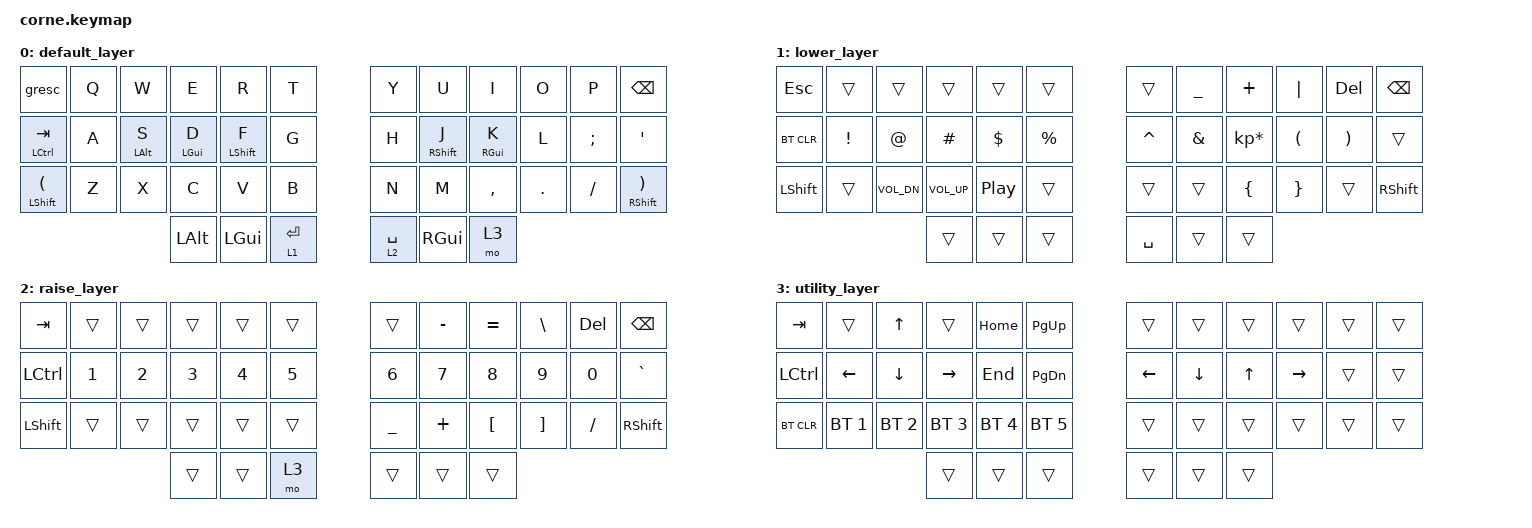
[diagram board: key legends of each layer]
/*
 * Copyright (c) 2020 The ZMK Contributors
 *
 * SPDX-License-Identifier: MIT
 */

#include <behaviors.dtsi>
#include <dt-bindings/zmk/keys.h>
#include <dt-bindings/zmk/bt.h>

/ {
        behaviors {        
                hm: homerow_mods {            
                        compatible = "zmk,behavior-hold-tap";            
                        label = "HOMEROW_MODS";            
                        #binding-cells = <2>;            
                        tapping-term-ms = <150>;            
                        quick_tap_ms = <0>;            
                        flavor = "tap-preferred";            
                        bindings = <&kp>, <&kp>;        
                };    
        };

        keymap {
                compatible = "zmk,keymap";

                default_layer {
// -----------------------------------------------------------------------------------------
// | ESC` |  Q  |  W  |  E  |  R  |  T  |   |  Y  |  U   |  I  |  O  |  P  | BKSP |
// |  TAB |  A  |  S  |  D  |  F  |  G  |   |  H  |  J   |  K  |  L  |  ;  |  '   |
// |   S( |  Z  |  X  |  C  |  V  |  B  |   |  N  |  M   |  ,  |  .  |  /  |  S)  |
//                    | GUI | LWR | ENT |   | SPC | RSE  | ALT |
                        bindings = <
   &gresc          &kp Q &kp W      &kp E      &kp R        &kp T       &kp Y       &kp U        &kp I      &kp O   &kp P    &kp BSPC
   &hm LCTL TAB    &kp A &hm LALT S &hm LGUI D &hm LSHIFT F &kp G       &kp H       &hm RSHIFT J &hm RGUI K &kp L   &kp SEMI &kp SQT
   &mt LSHIFT LPAR &kp Z &kp X      &kp C      &kp V        &kp B       &kp N       &kp M        &kp COMMA  &kp DOT &kp FSLH &mt RSHFT RPAR
                                    &kp LALT   &kp LGUI     &lt 1 ENTER &lt 2 SPACE &kp RGUI     &mo 3
                        >;
                };
                lower_layer {
// -----------------------------------------------------------------------------------------
// |  ESC |     |     |     |     |     |   |     |  _  |  +  |  |  | DEL | BKSP |
// | BTCLR|  !  |  @  |  #  |  $  |  %  |   |  ^  |  &  |  *  |  (  |  )  |      |
// | SHFT |     |Vol -|Vol +|Play |     |   |     |     |  {  |  }  |  ?  | SHFT |
//                    |     |     |     |   | SPC |     | ALT |
                        bindings = <
   &kp ESC    &trans   &trans       &trans       &trans           &trans    &trans    &kp UNDER &kp PLUS        &kp PIPE &kp DEL  &kp BSPC
   &bt BT_CLR &kp EXCL &kp AT       &kp HASH     &kp DLLR         &kp PRCNT &kp CARET &kp AMPS  &kp KP_MULTIPLY &kp LPAR &kp RPAR &trans
   &kp LSHFT  &trans   &kp C_VOL_DN &kp C_VOL_UP &kp C_PLAY_PAUSE &trans    &trans    &trans    &kp LBRC        &kp RBRC &trans   &kp RSHIFT
                       &trans       &trans       &trans           &kp SPACE &trans    &trans
                        >;
                };
                raise_layer {
// -----------------------------------------------------------------------------------------
// |  TAB |     |     |     |     |     |   |     |  -  |  =  |  \  | DEL | BKSP |
// | CTRL |  1  |  2  |  3  |  4  |  5  |   |  6  |  7  |  8  |  9  |  0  | `    |
// | SHFT |     |     |     |     |     |   |     |     |  [  |  ]  |  /  | SHFT |
//                    | GUI |     | SPC |   | ENT |     | ALT |
                        bindings = <
   &kp TAB   &trans &trans &trans &trans &trans &trans    &kp MINUS &kp EQUAL &kp BSLH &kp DEL  &kp BSPC
   &kp LCTRL &kp N1 &kp N2 &kp N3 &kp N4 &kp N5 &kp N6    &kp N7    &kp N8    &kp N9   &kp N0   &kp GRAVE
   &kp LSHFT &trans &trans &trans &trans &trans &kp UNDER &kp PLUS  &kp LBKT  &kp RBKT &kp FSLH &kp RSHFT
                           &trans &trans &mo 3  &trans    &trans    &trans
                        >;
                };
                utility_layer {
// -----------------------------------------------------------------------------------------
// |  TAB |     |  UP |     |HOME |PG UP|   |     |     |     |     |     |      |
// | CTRL |LEFT |DOWN |RIGHT| END |PG DN|   |LEFT |DOWN | UP  |RIGHT|     |      |
// |BTCLR | BT1 | BT2 | BT3 | BT4 | BT5 |   |     |     |     |     |     |      |
//                    |RESET|     |     |   |     |     |     |
                        bindings = <
   &kp TAB    &trans       &kp UP       &trans       &kp HOME     &kp PG_UP    &trans   &trans   &trans &trans    &trans &trans
   &kp LCTRL  &kp LEFT     &kp DOWN     &kp RIGHT    &kp END      &kp PG_DN    &kp LEFT &kp DOWN &kp UP &kp RIGHT &trans &trans
   &bt BT_CLR &bt BT_SEL 1 &bt BT_SEL 2 &bt BT_SEL 3 &bt BT_SEL 4 &bt BT_SEL 5 &trans   &trans   &trans &trans    &trans &trans
                                        &trans       &trans       &trans       &trans   &trans   &trans
                        >;
                };
        };
};
